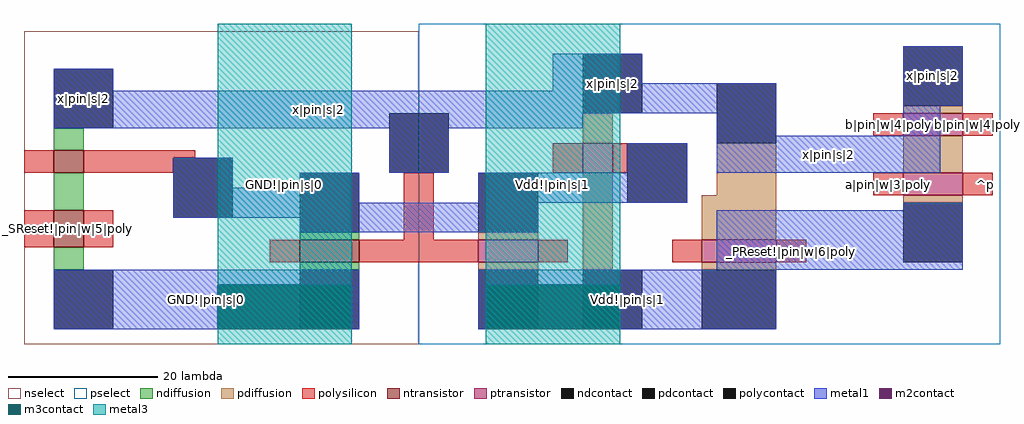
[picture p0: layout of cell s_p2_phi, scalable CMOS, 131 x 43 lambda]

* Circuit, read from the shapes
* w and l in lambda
.subckt s_p2_phi GND!|pin|s|0 Vdd!|pin|s|1 _PReset!|pin|w|6|poly _SReset!|pin|w|5|poly a|pin|w|3|poly b|pin|w|4|poly x|pin|s|2
M1 n1 _SReset!|pin|w|5|poly GND!|pin|s|0 VSUBS nfet w=4 l=5
M2 x|pin|s|2 n2 n1 VSUBS nfet w=4 l=3
M3 n2 x|pin|s|2 GND!|pin|s|0 VSUBS nfet w=8 l=3
M4 n2 x|pin|s|2 Vdd!|pin|s|1 NWELL pfet w=8 l=3
M5 x|pin|s|2 n2 Vdd!|pin|s|1 NWELL pfet w=4 l=4
M6 x|pin|s|2 _PReset!|pin|w|6|poly Vdd!|pin|s|1 NWELL pfet w=10 l=3
M7 n3 a|pin|w|3|poly Vdd!|pin|s|1 NWELL pfet w=8 l=3
M8 x|pin|s|2 b|pin|w|4|poly n3 NWELL pfet w=8 l=3
.ends

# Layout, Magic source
magic
tech scmos
<< nselect >>
rect -53 49 0 91
<< pselect >>
rect 0 49 78 92
<< ndiffusion >>
rect -49 75 -45 78
rect -49 67 -45 72
rect -16 63 -8 64
rect -49 59 -45 62
rect -16 59 -8 60
<< pdiffusion >>
rect 22 76 26 80
rect 65 80 73 81
rect 8 63 16 64
rect 8 59 16 60
rect 22 59 26 72
rect 40 69 48 76
rect 65 72 73 77
rect 38 63 48 69
rect 65 68 73 69
rect 38 59 48 60
<< ntransistor >>
rect -49 72 -45 75
rect -49 62 -45 67
rect -16 60 -8 63
<< ptransistor >>
rect 65 77 73 80
rect 22 72 26 76
rect 8 60 16 63
rect 65 69 73 72
rect 38 60 48 63
<< polysilicon >>
rect -53 72 -49 75
rect -45 74 -30 75
rect -45 72 -33 74
rect -53 62 -49 67
rect -45 62 -41 67
rect 61 77 65 80
rect 73 77 77 80
rect 18 72 22 76
rect 26 72 28 76
rect -2 63 2 72
rect -20 60 -16 63
rect -8 60 8 63
rect 16 60 20 63
rect 61 69 65 72
rect 73 69 77 72
rect 34 60 38 63
rect 48 60 52 63
<< ndcontact >>
rect -49 78 -41 86
rect -16 64 -8 72
rect -49 51 -41 59
rect -16 51 -8 59
<< pdcontact >>
rect 22 80 30 88
rect 40 76 48 84
rect 65 81 73 89
rect 8 64 16 72
rect 8 51 16 59
rect 65 60 73 68
rect 22 51 30 59
rect 38 51 48 59
<< polycontact >>
rect -33 66 -25 74
rect -4 72 4 80
rect 28 68 36 76
<< metal1 >>
rect -49 83 -41 86
rect 18 84 30 88
rect 18 83 48 84
rect -49 80 48 83
rect -49 78 22 80
rect -33 70 -25 74
rect -4 72 4 78
rect 40 77 48 80
rect 65 81 73 89
rect 65 77 70 81
rect 28 72 36 76
rect 40 72 70 77
rect -16 70 -8 72
rect -33 68 -8 70
rect 8 68 36 72
rect -33 66 16 68
rect 65 67 73 68
rect -16 64 16 66
rect 40 59 73 67
rect -49 57 -8 59
rect -49 51 -27 57
rect -9 51 -8 57
rect 8 57 48 59
rect 8 51 9 57
rect 27 51 48 57
<< m2contact >>
rect -27 51 -9 57
rect 9 51 27 57
<< m3contact >>
rect -27 51 -9 57
rect 9 51 27 57
<< metal3 >>
rect -27 49 -9 92
rect 9 49 27 92
<< labels >>
rlabel metal3 -27 49 -9 92 1 GND!|pin|s|0
rlabel metal3 9 49 27 92 1 Vdd!|pin|s|1
rlabel metal1 -49 51 -8 59 1 GND!|pin|s|0
rlabel polysilicon -53 62 -49 67 1 _SReset!|pin|w|5|poly
rlabel polysilicon -45 62 -41 67 1 _SReset!|pin|w|5|poly
rlabel polysilicon 48 60 52 63 1 _PReset!|pin|w|6|poly
rlabel metal1 8 51 48 59 1 Vdd!|pin|s|1
rlabel space 73 49 79 92 3 ^p
rlabel polysilicon 73 69 77 72 1 a|pin|w|3|poly
rlabel polysilicon 73 77 77 80 1 b|pin|w|4|poly
rlabel polysilicon 61 77 65 80 1 b|pin|w|4|poly
rlabel polysilicon 61 69 65 72 1 a|pin|w|3|poly
rlabel metal1 40 59 73 67 1 Vdd!|pin|s|1
rlabel metal1 -49 78 22 83 1 x|pin|s|2
rlabel metal1 40 72 70 77 1 x|pin|s|2
rlabel metal1 65 81 73 89 1 x|pin|s|2
rlabel metal1 22 80 30 88 1 x|pin|s|2
rlabel metal1 -49 78 -41 86 1 x|pin|s|2
<< end >>
